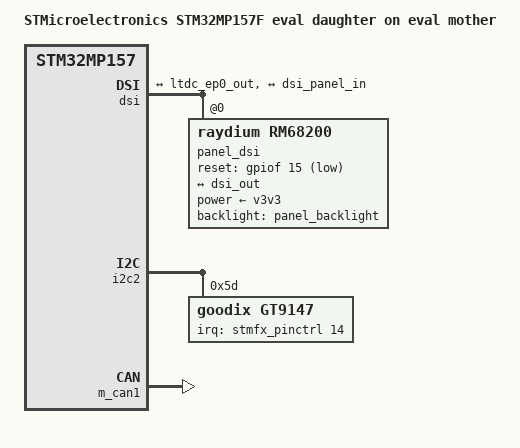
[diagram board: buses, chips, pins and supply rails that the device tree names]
// SPDX-License-Identifier: (GPL-2.0+ OR BSD-3-Clause)
/*
 * Copyright (C) STMicroelectronics 2019 - All Rights Reserved
 * Author: Alexandre Torgue <alexandre.torgue@st.com> for STMicroelectronics.
 */
/dts-v1/;

#include "stm32mp157f-ed1.dts"
#include "stm32mp15xx-evx.dtsi"
#include <dt-bindings/input/input.h>
#include <dt-bindings/soc/stm32-hdp.h>

/ {
	model = "STMicroelectronics STM32MP157F eval daughter on eval mother";
	compatible = "st,stm32mp157f-ev1", "st,stm32mp157f-ed1", "st,stm32mp157";

	chosen {
		stdout-path = "serial0:115200n8";
	};

	aliases {
		serial1 = &usart3;
		ethernet0 = &ethernet0;
	};
};

&dsi {
	#address-cells = <1>;
	#size-cells = <0>;
	status = "okay";

	ports {
		#address-cells = <1>;
		#size-cells = <0>;

		port@0 {
			reg = <0>;
			dsi_in: endpoint {
				remote-endpoint = <&ltdc_ep0_out>;
			};
		};

		port@1 {
			reg = <1>;
			dsi_out: endpoint {
				remote-endpoint = <&dsi_panel_in>;
			};
		};
	};

	panel_dsi: panel-dsi@0 {
		compatible = "raydium,rm68200";
		reg = <0>;
		reset-gpios = <&gpiof 15 GPIO_ACTIVE_LOW>;
		backlight = <&panel_backlight>;
		power-supply = <&v3v3>;
		status = "okay";

		port {
			dsi_panel_in: endpoint {
				remote-endpoint = <&dsi_out>;
			};
		};
	};
};

&i2c2 {
	gt9147: goodix_ts@5d {
		compatible = "goodix,gt9147";
		reg = <0x5d>;
		panel = <&panel_dsi>;
		pinctrl-0 = <&goodix_pins>;
		pinctrl-names = "default";
		status = "okay";

		interrupts = <14 IRQ_TYPE_EDGE_RISING>;
		interrupt-parent = <&stmfx_pinctrl>;
	};
};

&m_can1 {
	pinctrl-names = "default", "sleep";
	pinctrl-0 = <&m_can1_pins_a>;
	pinctrl-1 = <&m_can1_sleep_pins_a>;
	status = "okay";
};
